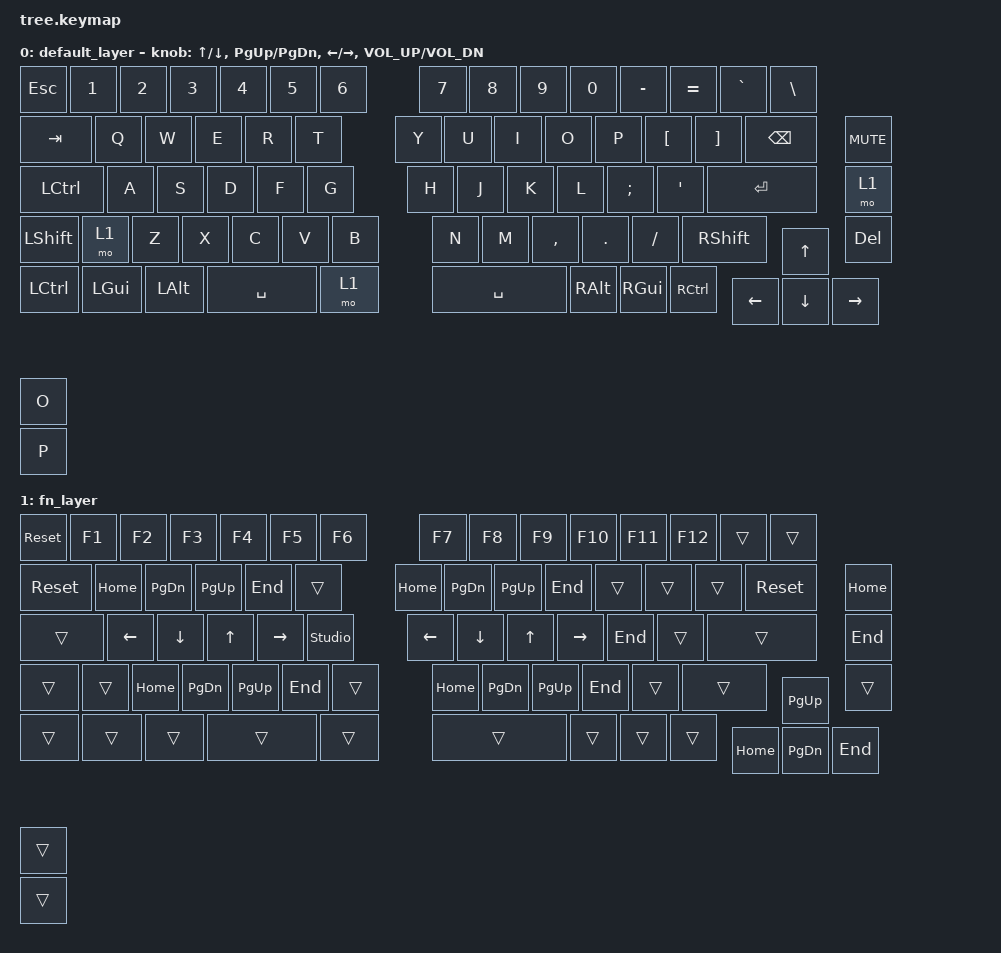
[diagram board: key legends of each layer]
/*
 * Copyright (c) 2022 The ZMK Contributors
 *
 * SPDX-License-Identifier: MIT
 */

#include <behaviors.dtsi>
#include <dt-bindings/zmk/bt.h>
#include <dt-bindings/zmk/keys.h>
#include <dt-bindings/zmk/outputs.h>
/ {
    keymap {
        compatible = "zmk,keymap";

// ----------------------------------------------      -----------------------------------------------------
// | ESC  |  1   |  2  |  3   |  4  |  5  |  6  |      |  7  |  8  |  9  |  0  |  -  |  =  |  BKSPC |  `   |
// | TAB   |  Q   |  W  |  E   |  R  |  T  |        |  Y  |  U  |  I  |  O  |  P  |  [  |  ]  |  \  | PGUP |
// | LCTRL  |  A   |  S  |  D   |  F  |  G  |        |  H  |  J  |  K  |  L  |  ;  |  '  |   ENTER  | PGDN |
// | SHIFT   |  Z   |  X  |  C  |  V   |  B  |        |  N  |  M  |  ,  |  .  |  /  |  RSHFT  |  UP | DEL  |
// | LCTRL   | LGUI | LALT |   SPACE   | FN  |        |    SPACE    | RALT | FN | RCTRL | LFT | DWN | RGHT |
// -------------------------------------------        ------------------------------------------------------

        default_layer {
            bindings = <
    &kp ESC   &kp N1   &kp N2   &kp N3    &kp N4 &kp N5 &kp N6 /**/ &kp N7    &kp N8   &kp N9    &kp N0    &kp MINUS &kp EQUAL &kp GRAVE &kp BSLH &kp C_MUTE
    &kp TAB   &kp Q    &kp W    &kp E     &kp R  &kp T         /**/ &kp Y     &kp U    &kp I     &kp O     &kp P     &kp LBKT  &kp RBKT &kp BSPC &mo 1 
    &kp LCTRL &kp A    &kp S    &kp D     &kp F  &kp G         /**/ &kp H     &kp J    &kp K     &kp L     &kp SEMI  &kp SQT   &kp RET  &kp DEL
    &kp LSHFT &mo 1    &kp Z    &kp X    &kp C   &kp V  &kp B  /**/ &kp N     &kp M    &kp COMMA &kp DOT   &kp FSLH  &kp RSHFT &kp UP
    &kp LCTRL &kp LGUI &kp LALT &kp SPACE &mo 1               /**/ &kp SPACE &kp RALT &kp RGUI     &kp RCTRL &kp LEFT  &kp DOWN  &kp RIGHT

     &kp O  &kp P
            >;
            
            sensor-bindings = <&inc_dec_kp UP DOWN &inc_dec_kp PG_UP PG_DN &inc_dec_kp LEFT RIGHT &inc_dec_kp C_VOL_UP C_VOL_DN >;
        };

// ----------------------------------------------     -----------------------------------------------------
// |BT_CLR|  F1  |  F2 |  F3  |  F4 |  F5 |  F6 |     |  F7 |  F8 |  F9 | F10 | F11 | F12 |        |BT_CLR|
// |       | BT-0 | BT-1| BT-2 |     |     |       |     |     |     |     |     |     |     |     |      |
// |        |      |     |      |     |     |       |     |     |     |     |     |     |          |      |
// |         |      |     |     |      |     |       |     |     |     |     |     |         |     |      |
// |         |      |      |           |     |       |             |      |    |       |     |     |      |
// -------------------------------------------       ------------------------------------------------------

        fn_layer {
            bindings = <
    &sys_reset &kp F1       &kp F2       &kp F3       &kp F4 &kp F5 &kp F6 /**/ &kp F7 &kp F8 &kp F9 &kp F10 &kp F11 &kp F12 &trans &trans         &kp HOME
    &sys_reset &kp HOME  &kp PG_DN       &kp PG_UP &kp END &trans         /**/  &kp HOME &kp PG_DN &kp PG_UP &kp END  &trans   &trans  &trans &sys_reset         &kp END
    &trans     &kp LEFT     &kp DOWN     &kp UP &kp RIGHT &studio_unlock          /**/   &kp LEFT &kp DOWN  &kp UP  &kp RIGHT &kp END   &trans  &trans    &trans
    &trans     &trans      &kp HOME  &kp PG_DN  &kp PG_UP &kp END &trans  /**/     &kp HOME &kp PG_DN &kp PG_UP &kp END &trans    &trans  &kp PG_UP
    &trans     &trans       &trans       &trans       &trans              /**/ &trans &trans &trans &trans                   &kp HOME  &kp PG_DN  &kp END

    &trans  &trans
            >;
        };
    };
};
